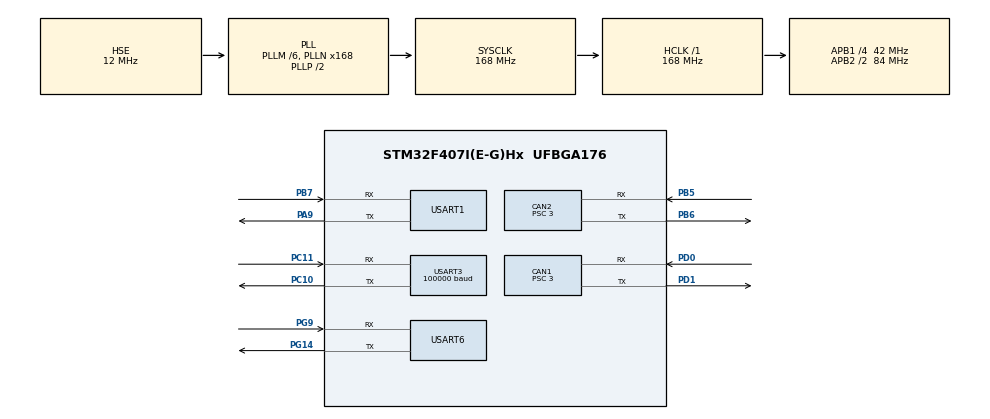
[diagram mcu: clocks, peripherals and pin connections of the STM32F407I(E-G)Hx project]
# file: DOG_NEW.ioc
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CAN1.BS1=CAN_BS1_10TQ
CAN1.BS2=CAN_BS2_3TQ
CAN1.CalculateBaudRate=1000000
CAN1.CalculateTimeBit=1000
CAN1.CalculateTimeQuantum=71.42857142857143
CAN1.Prescaler=3
CAN2.BS1=CAN_BS1_10TQ
CAN2.BS2=CAN_BS2_3TQ
CAN2.CalculateBaudRate=1000000
CAN2.CalculateTimeBit=1000
CAN2.CalculateTimeQuantum=71.42857142857143
CAN2.Prescaler=3
Dma.Request0=USART3_RX
Dma.Request1=USART1_RX
Dma.USART1_RX.1.Direction=DMA_PERIPH_TO_MEMORY
Dma.USART1_RX.1.FIFOMode=DMA_FIFOMODE_DISABLE
Dma.USART1_RX.1.Instance=DMA2_Stream2
Dma.USART1_RX.1.MemDataAlignment=DMA_MDATAALIGN_BYTE
Dma.USART1_RX.1.MemInc=DMA_MINC_ENABLE
Dma.USART1_RX.1.Mode=DMA_CIRCULAR
Dma.USART1_RX.1.PeriphDataAlignment=DMA_PDATAALIGN_BYTE
Dma.USART1_RX.1.PeriphInc=DMA_PINC_DISABLE
Dma.USART1_RX.1.Priority=DMA_PRIORITY_HIGH
Dma.USART3_RX.0.Direction=DMA_PERIPH_TO_MEMORY
Dma.USART3_RX.0.FIFOMode=DMA_FIFOMODE_DISABLE
Dma.USART3_RX.0.Instance=DMA1_Stream1
Dma.USART3_RX.0.MemDataAlignment=DMA_MDATAALIGN_BYTE
Dma.USART3_RX.0.MemInc=DMA_MINC_ENABLE
Dma.USART3_RX.0.Mode=DMA_CIRCULAR
Dma.USART3_RX.0.PeriphDataAlignment=DMA_PDATAALIGN_BYTE
Dma.USART3_RX.0.PeriphInc=DMA_PINC_DISABLE
Dma.USART3_RX.0.Priority=DMA_PRIORITY_VERY_HIGH
Mcu.Family=STM32F4
Mcu.Name=STM32F407I(E-G)Hx
Mcu.Package=UFBGA176
NVIC.CAN1_RX0_IRQn=true\:0\:0\:false\:false\:true\:true\:true\:true
NVIC.CAN2_RX0_IRQn=true\:0\:0\:false\:false\:true\:true\:true\:true
NVIC.DMA1_Stream1_IRQn=true\:0\:0\:false\:false\:true\:false\:true\:true
NVIC.DMA2_Stream2_IRQn=true\:0\:0\:false\:false\:true\:false\:true\:true
NVIC.PriorityGroup=NVIC_PRIORITYGROUP_4
NVIC.TIM1_UP_TIM10_IRQn=true\:0\:0\:false\:false\:true\:true\:true\:true
NVIC.TIM8_UP_TIM13_IRQn=true\:0\:0\:false\:false\:true\:true\:true\:true
NVIC.USART1_IRQn=true\:0\:0\:true\:false\:true\:true\:true\:true
NVIC.USART3_IRQn=true\:0\:0\:true\:false\:true\:true\:true\:true
PA13.Mode=Serial_Wire
PA13.Signal=SYS_JTMS-SWDIO
PA14.Mode=Serial_Wire
PA14.Signal=SYS_JTCK-SWCLK
PA9.Mode=Asynchronous
PA9.Signal=USART1_TX
PB5.Mode=CAN_Activate
PB5.Signal=CAN2_RX
PB6.Mode=CAN_Activate
PB6.Signal=CAN2_TX
PB7.Mode=Asynchronous
PB7.Signal=USART1_RX
PC10.Mode=Asynchronous
PC10.Signal=USART3_TX
PC11.Mode=Asynchronous
PC11.Signal=USART3_RX
PC14-OSC32_IN.Mode=LSE-External-Oscillator
PC14-OSC32_IN.Signal=RCC_OSC32_IN
PC15-OSC32_OUT.Mode=LSE-External-Oscillator
PC15-OSC32_OUT.Signal=RCC_OSC32_OUT
PD0.Mode=CAN_Activate
PD0.Signal=CAN1_RX
PD1.Mode=CAN_Activate
PD1.Signal=CAN1_TX
PG14.Mode=Asynchronous
PG14.Signal=USART6_TX
PG9.Mode=Asynchronous
PG9.Signal=USART6_RX
PH0-OSC_IN.Mode=HSE-External-Oscillator
PH0-OSC_IN.Signal=RCC_OSC_IN
PH1-OSC_OUT.Mode=HSE-External-Oscillator
PH1-OSC_OUT.Signal=RCC_OSC_OUT
ProjectManager.HeapSize=0x200
ProjectManager.StackSize=0x400
ProjectManager.TargetToolchain=MDK-ARM V5.32
RCC.48MHZClocksFreq_Value=84000000
RCC.AHBFreq_Value=168000000
RCC.APB1CLKDivider=RCC_HCLK_DIV4
RCC.APB1Freq_Value=42000000
RCC.APB1TimFreq_Value=84000000
RCC.APB2CLKDivider=RCC_HCLK_DIV2
RCC.APB2Freq_Value=84000000
RCC.APB2TimFreq_Value=168000000
RCC.CortexFreq_Value=168000000
RCC.HCLKFreq_Value=168000000
RCC.HSE_VALUE=12000000
RCC.HSI_VALUE=16000000
RCC.PLLM=6
RCC.PLLN=168
RCC.PLLSourceVirtual=RCC_PLLSOURCE_HSE
RCC.SYSCLKFreq_VALUE=168000000
RCC.SYSCLKSource=RCC_SYSCLKSOURCE_PLLCLK
RCC.VCOOutputFreq_Value=336000000
TIM1.Period=49
TIM1.Prescaler=16799
TIM8.Period=49
TIM8.Prescaler=16799
USART1.VirtualMode=VM_ASYNC
USART3.BaudRate=100000
USART3.Mode=MODE_RX
USART3.Parity=PARITY_EVEN
USART3.VirtualMode=VM_ASYNC
USART6.VirtualMode=VM_ASYNC
VP_TIM1_VS_ClockSourceINT.Mode=Internal
VP_TIM8_VS_ClockSourceINT.Mode=Internal
board=custom

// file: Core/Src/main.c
/* USER CODE BEGIN Header */
/**
  ******************************************************************************
  * @file           : main.c
  * @brief          : Main program body
  ******************************************************************************
  * @attention
  *
  * Copyright (c) 2023 STMicroelectronics.
  * All rights reserved.
  *
  * This software is licensed under terms that can be found in the LICENSE file
  * in the root directory of this software component.
  * If no LICENSE file comes with this software, it is provided AS-IS.
  *
  ******************************************************************************
  */
/* USER CODE END Header */
#include "main.h"
#include "can.h"
#include "dma.h"
#include "tim.h"
#include "usart.h"
#include "gpio.h"

/* USER CODE BEGIN Includes */
#include "CAN_PID_User.h"
#include "pid.h"
#include "mot_move.h"
#include "wit_c_sdk.h"
#include "bsp_rc.h"
#include "remote_control.h"
#include "IMU.h"
#include "IMU_correct.h"
#include "stdio.h"

/* USER CODE END Includes */

void SystemClock_Config(void);

/* USER CODE BEGIN 0 */
extern uint8_t ucRxBuffer[132];
extern motor_measure_t motor_can1[8];
extern motor_measure_t motor_can2[8];
extern float x_dog,y_dog;
extern float gp;
extern float pos_agle[8];

/* USER CODE END 0 */

int main(void)
{

  /* MCU Configuration--------------------------------------------------------*/

  /* Reset of all peripherals, Initializes the Flash interface and the Systick. */
  HAL_Init();

  /* Configure the system clock */
  SystemClock_Config();

  /* Initialize all configured peripherals */
  MX_GPIO_Init();
  MX_DMA_Init();
  MX_CAN1_Init();
  MX_CAN2_Init();
  MX_TIM1_Init();
  MX_USART1_UART_Init();
  MX_USART3_UART_Init();
  MX_USART6_UART_Init();
  MX_TIM8_Init();
  /* USER CODE BEGIN 2 */

		HAL_CAN_Start(&hcan1);
		HAL_CAN_ActivateNotification(&hcan1,CAN_IT_RX_FIFO0_MSG_PENDING);
		HAL_CAN_Start(&hcan2);
		HAL_CAN_ActivateNotification(&hcan2,CAN_IT_RX_FIFO0_MSG_PENDING);
		filter1_init();
		filter2_init();
		pid_chassis_init();
    remote_control_init();

		IMU_correct_dog();

	__HAL_UART_ENABLE_IT(&huart1, UART_IT_RXNE);
	WitInit(WIT_PROTOCOL_NORMAL,0x50);
	HAL_UART_Receive_IT(&huart1,ucRxBuffer,132);
	HAL_UART_Receive_DMA(&huart1,ucRxBuffer,132);

	HAL_TIM_Base_Start_IT(&htim1);
	HAL_TIM_Base_Start_IT(&htim8);

  /* USER CODE END 2 */

  /* Infinite loop */
  while (1)
  {

    /* USER CODE BEGIN 3 */
		HAL_Delay(5);

  }
  /* USER CODE END 3 */
}

void SystemClock_Config(void)
{
  RCC_OscInitTypeDef RCC_OscInitStruct = {0};
  RCC_ClkInitTypeDef RCC_ClkInitStruct = {0};

  /** Configure the main internal regulator output voltage
  */
  __HAL_RCC_PWR_CLK_ENABLE();
  __HAL_PWR_VOLTAGESCALING_CONFIG(PWR_REGULATOR_VOLTAGE_SCALE1);

  /** Initializes the RCC Oscillators according to the specified parameters
  * in the RCC_OscInitTypeDef structure.
  */
  RCC_OscInitStruct.OscillatorType = RCC_OSCILLATORTYPE_HSE;
  RCC_OscInitStruct.HSEState = RCC_HSE_ON;
  RCC_OscInitStruct.PLL.PLLState = RCC_PLL_ON;
  RCC_OscInitStruct.PLL.PLLSource = RCC_PLLSOURCE_HSE;
  RCC_OscInitStruct.PLL.PLLM = 6;
  RCC_OscInitStruct.PLL.PLLN = 168;
  RCC_OscInitStruct.PLL.PLLP = RCC_PLLP_DIV2;
  RCC_OscInitStruct.PLL.PLLQ = 4;
  if (HAL_RCC_OscConfig(&RCC_OscInitStruct) != HAL_OK)
  {
    Error_Handler();
  }

  /** Initializes the CPU, AHB and APB buses clocks
  */
  RCC_ClkInitStruct.ClockType = RCC_CLOCKTYPE_HCLK|RCC_CLOCKTYPE_SYSCLK
                              |RCC_CLOCKTYPE_PCLK1|RCC_CLOCKTYPE_PCLK2;
  RCC_ClkInitStruct.SYSCLKSource = RCC_SYSCLKSOURCE_PLLCLK;
  RCC_ClkInitStruct.AHBCLKDivider = RCC_SYSCLK_DIV1;
  RCC_ClkInitStruct.APB1CLKDivider = RCC_HCLK_DIV4;
  RCC_ClkInitStruct.APB2CLKDivider = RCC_HCLK_DIV2;

  if (HAL_RCC_ClockConfig(&RCC_ClkInitStruct, FLASH_LATENCY_5) != HAL_OK)
  {
    Error_Handler();
  }
}

/* USER CODE BEGIN 4 */

//    HAL_SYSTICK_Config(HAL_RCC_GetHCLKFreq()/1000);  //设置每次定时时长为1ms 对应下面的注释

//    HAL_SYSTICK_CLKSourceConfig(SYSTICK_CLKSOURCE_HCLK);

//    /* SysTick_IRQn interrupt configuration */
//    HAL_NVIC_SetPriority(SysTick_IRQn, 15, 0);

/* USER CODE END 4 */

void Error_Handler(void)
{
  __disable_irq();
  while (1)
  {
  }
}
